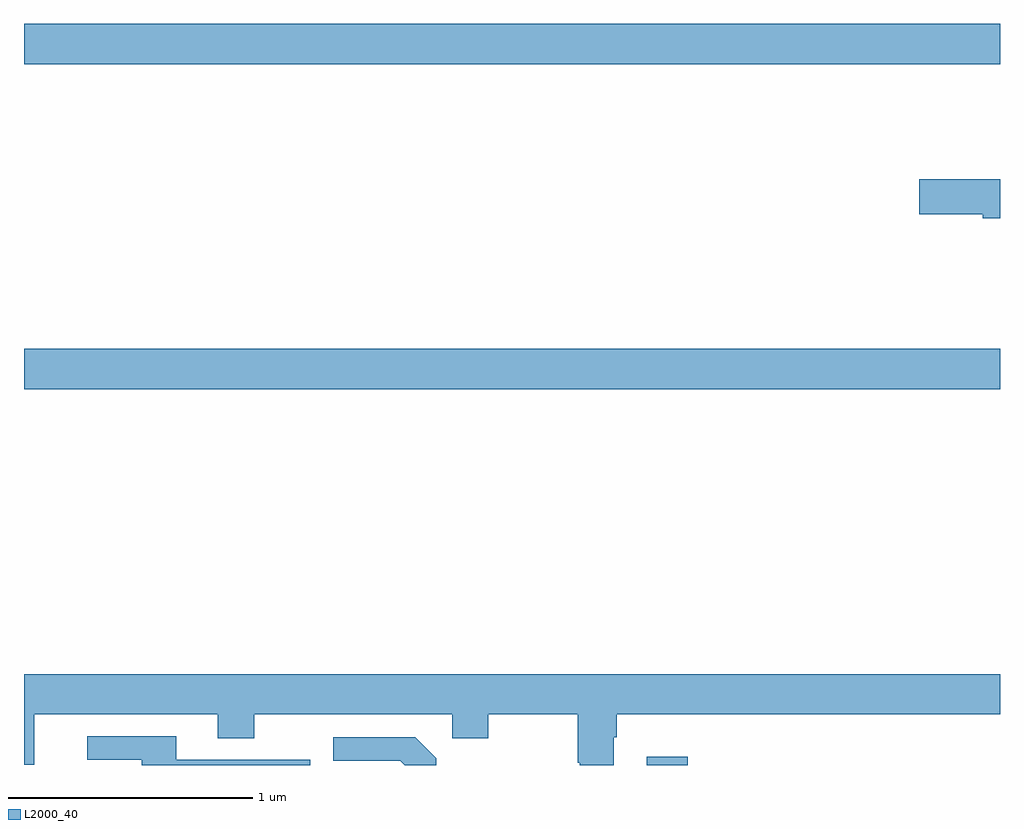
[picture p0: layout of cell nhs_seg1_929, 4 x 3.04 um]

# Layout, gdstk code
import gdstk
lib = gdstk.Library(unit=1e-6, precision=1e-09)
def R(c, l, rs):  # rectangles x0, y0, x1, y1
    for r in rs: c.add(gdstk.rectangle(r[:2], r[2:], *l))
def P(c, l, *ps):  # polygons
    for p in ps: c.add(gdstk.Polygon(p, *l))
L2000_40 = (2000, 40)

nhs_seg1_929 = lib.new_cell('nhs_seg1_929')
R(nhs_seg1_929, L2000_40, [(163.553,542.199,163.721,542.233), (161,543.74,165,543.904), (161,545.072,165,545.236)])
P(nhs_seg1_929, L2000_40, [(165,544.599),(164.67,544.599),(164.67,544.457),(164.93,544.457),(164.93,544.439),(165,544.439)],
  [(163.417,542.312),(163.43,542.312),(163.43,542.408),(165,542.408),(165,542.572),(161,542.572),(161,542.2),(161.041,542.2),(161.041,542.408),(161.795,542.408),(161.795,542.309),(161.943,542.309),(161.943,542.408),(162.756,542.408),(162.756,542.309),(162.903,542.309),(162.903,542.408),(163.27,542.408),(163.27,542.209),(163.277,542.209),(163.277,542.199),(163.417,542.199)],
  [(162.174,542.22),(161.623,542.22),(161.623,542.316),(161.259,542.316),(161.259,542.22),(161.483,542.22),(161.483,542.199),(162.174,542.199)],
  [(162.69,542.226),(162.603,542.313),(162.267,542.313),(162.267,542.217),(162.543,542.217),(162.561,542.199),(162.69,542.199)])

lib.write_gds('nhs_seg1_929.gds')
